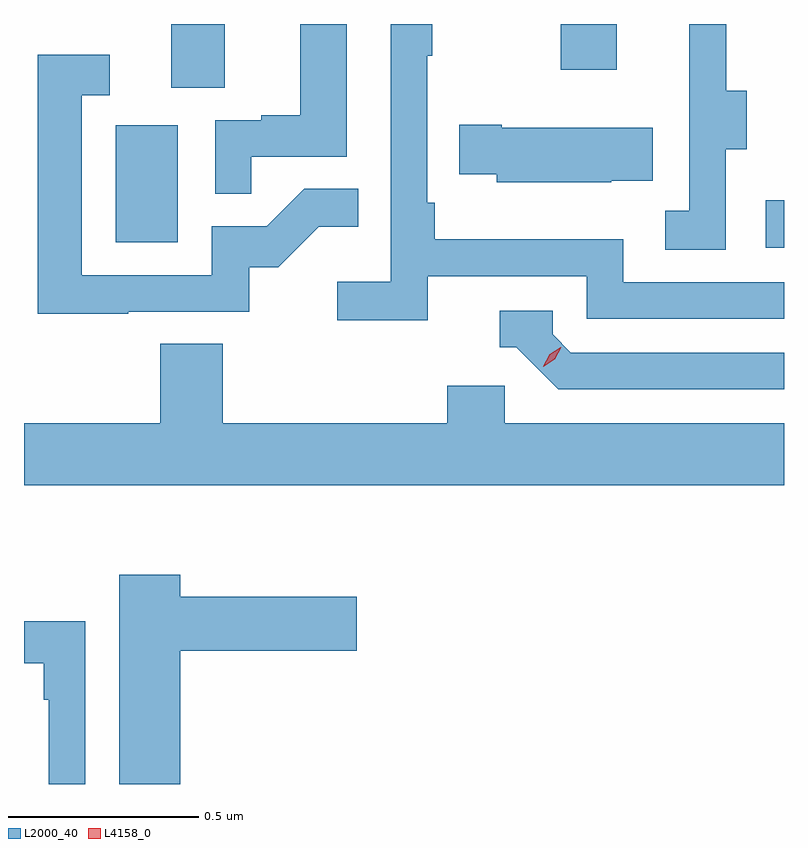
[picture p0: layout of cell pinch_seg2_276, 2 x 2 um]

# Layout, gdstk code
import gdstk
lib = gdstk.Library(unit=1e-6, precision=1e-09)
def R(c, l, rs):  # rectangles x0, y0, x1, y1
    for r in rs: c.add(gdstk.rectangle(r[:2], r[2:], *l))
def P(c, l, *ps):  # polygons
    for p in ps: c.add(gdstk.Polygon(p, *l))
L2000_40 = (2000, 40)
L4158_0 = (4158, 0)

pinch_seg2_276 = lib.new_cell('pinch_seg2_276')
R(pinch_seg2_276, L2000_40, [(904.071,656.253,904.119,656.378), (902.36,656.268,902.524,656.575), (902.507,656.674,902.647,656.842), (903.532,656.721,903.679,656.842)])
P(pinch_seg2_276, L2000_40, [(903.182,656.178),(903.6,656.178),(903.6,656.067),(904.119,656.067),(904.119,656.163),(903.696,656.163),(903.696,656.275),(903.2,656.275),(903.2,656.371),(903.18,656.371),(903.18,656.759),(903.193,656.759),(903.193,656.842),(903.084,656.842),(903.084,656.164),(902.943,656.164),(902.943,656.062),(903.182,656.062)],
  [(902.717,656.493),(902.968,656.493),(902.968,656.842),(902.846,656.842),(902.846,656.602),(902.743,656.602),(902.743,656.589),(902.622,656.589),(902.622,656.395),(902.717,656.395)],
  [(903.966,656.512),(904.021,656.512),(904.021,656.667),(903.967,656.667),(903.967,656.842),(903.869,656.842),(903.869,656.655),(903.87,656.655),(903.87,656.351),(903.807,656.351),(903.807,656.248),(903.966,656.248)],
  [(902.393,656.085),(902.712,656.085),(902.712,656.202),(902.788,656.202),(902.895,656.309),(902.999,656.309),(902.999,656.408),(902.856,656.408),(902.758,656.31),(902.613,656.31),(902.613,656.181),(902.271,656.181),(902.271,656.655),(902.344,656.655),(902.344,656.761),(902.155,656.761),(902.155,656.08),(902.393,656.08)],
  [(903.665,656.429),(903.773,656.429),(903.773,656.569),(903.376,656.569),(903.376,656.577),(903.265,656.577),(903.265,656.447),(903.363,656.447),(903.363,656.426),(903.665,656.426)],
  [(904.119,655.977),(903.558,655.977),(903.51,656.025),(903.51,656.088),(903.371,656.088),(903.371,655.992),(903.414,655.992),(903.525,655.881),(904.119,655.881)],
  [(904.119,655.792),(903.384,655.792),(903.384,655.89),(903.233,655.89),(903.233,655.792),(902.642,655.792),(902.642,656),(902.477,656),(902.477,655.792),(902.119,655.792),(902.119,655.628),(904.119,655.628)],
  [(902.53,655.193),(902.995,655.193),(902.995,655.335),(902.53,655.335),(902.53,655.393),(902.369,655.393),(902.369,654.842),(902.53,654.842)],
  [(902.28,655.27),(902.119,655.27),(902.119,655.16),(902.171,655.16),(902.171,655.064),(902.184,655.064),(902.184,654.842),(902.28,654.842)])
P(pinch_seg2_276, L4158_0, [(903.485,655.94),(903.485,655.941),(903.502,655.973),(903.532,655.992),(903.533,655.992),(903.533,655.992),(903.516,655.96),(903.485,655.94)])

lib.write_gds('pinch_seg2_276.gds')
